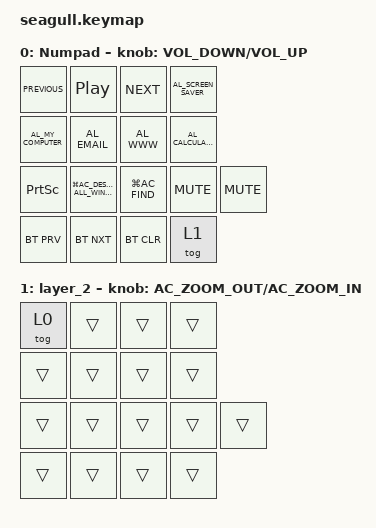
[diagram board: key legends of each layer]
#include <behaviors.dtsi>
#include <dt-bindings/zmk/bt.h>
#include <dt-bindings/zmk/keys.h>

#define NUMPAD 0
#define BLUETOOTH 1

/ {
    keymap {
        compatible = "zmk,keymap";

        layer_numpad {
            display-name = "Numpad";

            // +---------------------------+                      
            // |   7  |   8  |   9  |   *  |                      
            // +------+------+------+------+
            // |   4  |   5  |   6  |   /  |                      
            // +------+------+------+------+-------+     
            // |   1  |   2  |   3  |   *  | L-BT  |                     
            // +------+------+------+------+-------+    
            // |   0  |   .  |  +   |   =  |                          
            // +------+------+------+------+  

            bindings = <
&kp C_PREVIOUS        &kp C_PLAY_PAUSE                       &kp C_NEXT         &kp C_AL_SCREEN_SAVER
&kp C_AL_MY_COMPUTER  &kp C_AL_EMAIL                         &kp C_AL_WWW       &kp C_AL_CALCULATOR
&kp PRINTSCREEN       &kp LG(C_AC_DESKTOP_SHOW_ALL_WINDOWS)  &kp LG(C_AC_FIND)  &kp C_MUTE             &kp C_MUTE
&bt BT_PRV            &bt BT_NXT                             &bt BT_CLR         &tog 1
            >;

            sensor-bindings = <&inc_dec_kp C_VOLUME_DOWN C_VOLUME_UP>;
        };

        layer_2 {
            bindings = <
&tog 0  &trans  &trans  &trans
&trans  &trans  &trans  &trans
&trans  &trans  &trans  &trans  &trans
&trans  &trans  &trans  &trans
            >;

            sensor-bindings = <&inc_dec_kp C_AC_ZOOM_OUT C_AC_ZOOM_IN>;
        };
    };
};
